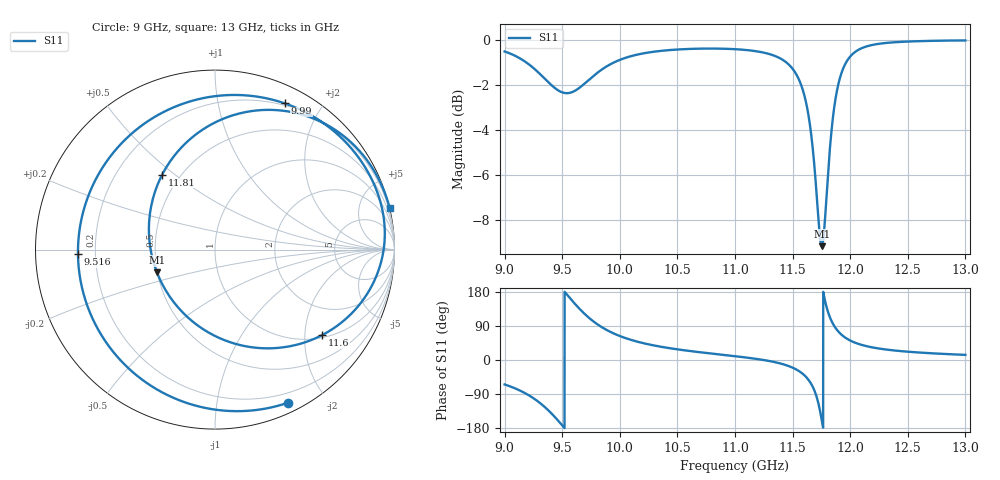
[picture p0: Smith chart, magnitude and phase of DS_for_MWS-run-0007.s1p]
! TOUCHSTONE file generated by CST DESIGN STUDIO
! Date and time: Tue Feb  4 14:18:29 2025
! Project name: C:\Work\MatlabApps\UnitCellOptimizationMatlab\CST\unitcell.cst
! Tree item: Tasks\Sweep1\SPara1\S-Parameters
! Header version: 2024
! Port assignment regex: !\s*Touchstone port\s*([0-9]+)\s*=\s*(CST MWS port|CST DES external port|CST DES block port)\s*(.+)\s* \(\"(.*)\"\)(\s*mode\s*([0-9]+))?.*
! Touchstone port assignment:
! Touchstone port 1 = CST DES external port 1 ("")
# GHz S MA R 50
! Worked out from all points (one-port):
!   4001 points, 9 GHz to 13 GHz, reference 50 ohm
!   lowest |S11| = -9.2 dB at 11.75 GHz (marker M1), VSWR 2.06, Z = 24.9 - j7.22 ohm
!   |S11| at or under -10 dB: nowhere
!   S11 on the Smith chart (normalised r, x): 9 GHz: 0.10, -1.58; 9.516 GHz: 0.13, -0.02; 9.99 GHz: 0.18, +1.57; 11.6 GHz: 1.07, -2.45; 11.81 GHz: 0.40, +0.45; 13 GHz: 0.00, +8.43
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9  0.9449 -64.5
9.167  0.9008 -85.8
9.286  0.8517 -108.5
9.389  0.8027 -135.6
9.5  0.7659 -172.5
9.516  0.7638 -178.2
9.608  0.7715 149.0
9.731  0.8165 111.7
9.841  0.8602 87.2
9.99  0.9028 64.5
10  0.905 63.3
10.213  0.9366 43.8
10.5  0.9545 28.1
11  0.9561 10.1
11.324  0.928 -4.3
11.5  0.8645 -20.2
11.596  0.764 -38.5
11.687  0.5323 -78.8
11.719  0.4165 -108.4
11.753  0.3474 -158.5
11.78  0.3949 158.5
11.809  0.511 125.2
11.844  0.6519 99.2
11.882  0.7652 80.7
12  0.9207 51.4
12.178  0.9754 34.1
12.5  0.9943 21.9
13  1 13.5
